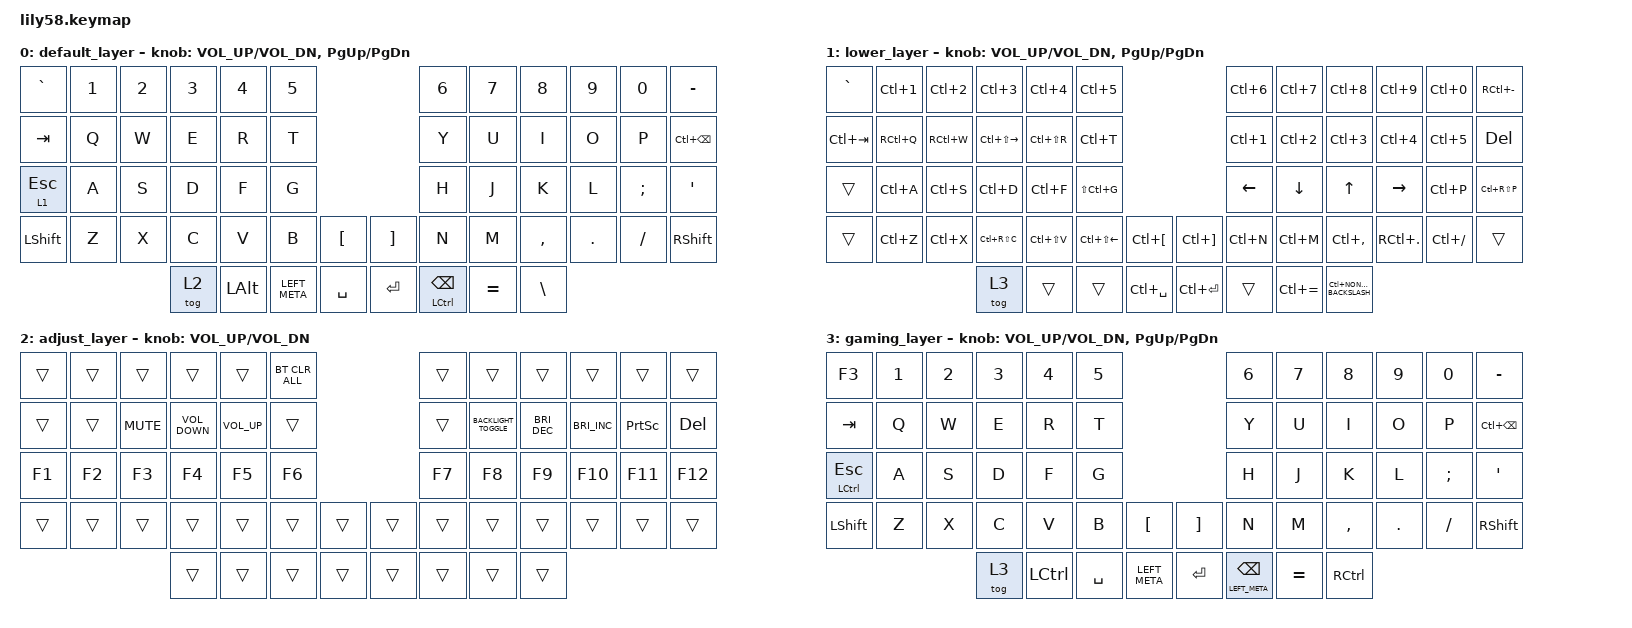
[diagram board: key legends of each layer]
/*
 * Copyright (c) 2020 The ZMK Contributors
 *
 * SPDX-License-Identifier: MIT
 */

#include <behaviors.dtsi>
#include <dt-bindings/zmk/bt.h>
#include <dt-bindings/zmk/keys.h>

/ {
    behaviors {
          lt_ti: layer_tap_ti {
              compatible = "zmk,behavior-hold-tap";                             
              #binding-cells = <2>;
              tapping-term-ms = <1000>;                                          
              flavor = "tap-unless-interrupted";
              bindings = <&mo>, <&kp>;
          };                                                                    
      };

    keymap {
        compatible = "zmk,keymap";

        default_layer {
            // ------------------------------------------------------------------------------------------------------------
            // |  ESC  |  1  |  2  |  3   |  4   |  5   |                   |  6   |  7    |  8    |  9   |   0   |   `   |
            // |  TAB  |  Q  |  W  |  E   |  R   |  T   |                   |  Y   |  U    |  I    |  O   |   P   |   -   |
            // |  CTRL |  A  |  S  |  D   |  F   |  G   |                   |  H   |  J    |  K    |  L   |   ;   |   '   |
            // | SHIFT |  Z  |  X  |  C   |  V   |  B   |  MUTE  |  |RGB_TOG|  N   |  M    |  ,    |  .   |   /   | SHIFT |
            //                     | ALT  | GUI  | LOWER|  SPACE |  | ENTER | RAISE| BSPC  | GUI   |

            bindings = <
&kp GRAVE     &kp N1  &kp N2  &kp N3  &kp N4    &kp N5                                                &kp N6               &kp N7     &kp N8     &kp N9   &kp N0     &kp MINUS
&kp TAB       &kp Q   &kp W   &kp E   &kp R     &kp T                                                 &kp Y                &kp U      &kp I      &kp O    &kp P      &kp LC(BACKSPACE)
&lt_ti 1 ESCAPE  &kp A   &kp S   &kp D   &kp F     &kp G                                                 &kp H                &kp J      &kp K      &kp L    &kp SEMI   &kp SQT
&kp LSHFT     &kp Z   &kp X   &kp C   &kp V     &kp B          &kp LEFT_BRACKET    &kp RIGHT_BRACKET  &kp N                &kp M      &kp COMMA  &kp DOT  &kp SLASH  &kp RSHFT
                              &tog 2  &kp LALT  &kp LEFT_META  &kp SPACE           &kp RET            &mt LCTRL BACKSPACE  &kp EQUAL  &kp BSLH
            >;

            sensor-bindings = <&inc_dec_kp C_VOL_UP C_VOL_DN &inc_dec_kp PG_UP PG_DN>;
        };

        lower_layer {
            // ------------------------------------------------------------------------------------------------------------
            // | BTCLR | BT1 | BT2 |  BT3 |  BT4 |  BT5 |                   |      |       |       |      |       |       |
            // |  F1   |  F2 |  F3 |  F4  |  F5  |  F6  |                   |  F7  |  F8   |  F9   |  F10 |  F11  |  F12  |
            // |   `   |  !  |  @  |  #   |  $   |  %   |                   |  ^   |  &    |  *    |  (   |   )   |   ~   |
            // |EXTPWR |     |     |      |      |      |        |  |       |      |  _    |  +    |  {   |   }   |  "|"  |
            //                     |      |      |      |        |  |       |      |       |       |

            bindings = <
&kp GRAVE    &kp LC(NUMBER_1)  &kp LC(NUMBER_2)  &kp LC(NUMBER_3)   &kp LC(NUMBER_4)  &kp LC(N5)                                                             &kp LC(NUMBER_6)  &kp LC(N7)        &kp LC(N8)                &kp LC(N9)        &kp LC(N0)     &kp RC(MINUS)
&kp LC(TAB)  &kp RC(Q)         &kp RC(W)         &kp LC(LS(RIGHT))  &kp LC(LS(R))     &kp LC(T)                                                              &kp LC(NUMBER_1)  &kp LC(NUMBER_2)  &kp LC(NUMBER_3)          &kp LC(NUMBER_4)  &kp LC(N5)     &kp DEL
&trans       &kp LC(A)         &kp LC(S)         &kp LC(D)          &kp LC(F)         &kp LS(LC(G))                                                          &kp LEFT          &kp DOWN_ARROW    &kp UP_ARROW              &kp RIGHT         &kp LC(P)      &kp LC(RS(P))
&trans       &kp LC(Z)         &kp LC(X)         &kp LC(RS(C))      &kp LC(LS(V))     &kp LC(LS(LEFT_ARROW))  &kp LC(LEFT_BRACKET)    &kp LC(RIGHT_BRACKET)  &kp LC(N)         &kp LC(M)         &kp LC(COMMA)             &kp RC(PERIOD)    &kp LC(SLASH)  &trans
                                                 &tog 3             &trans            &trans                  &kp LC(SPACE)           &kp LC(ENTER)          &trans            &kp LC(EQUAL)     &kp LC(NON_US_BACKSLASH)
            >;

            sensor-bindings = <&inc_dec_kp C_VOL_UP C_VOL_DN &inc_dec_kp PG_UP PG_DN>;
        };

        adjust_layer {
            // ----------------------------------------------------------------------------------------------------------------------------
            // | BTCLR  |  BT1    |  BT2    |   BT3   |   BT4   |   BT5   |                  |      |      |       |      |       |       |
            // | EXTPWR | RGB_HUD | RGB_HUI | RGB_SAD | RGB_SAI | RGB_EFF |                  |      |      |       |      |       |       |
            // |        | RGB_BRD | RGB_BRI |         |         |         |                  |      |      |       |      |       |       |
            // |        |         |         |         |         |         | RGB_TOG | |      |      |      |       |      |       |       |
            //                    |         |         |         |         |         | |      |      |      |       |      |

            bindings = <
&trans  &trans  &trans      &trans             &trans           &bt BT_CLR_ALL                    &trans  &trans                  &trans                &trans                &trans           &trans
&trans  &trans  &kp K_MUTE  &kp C_VOLUME_DOWN  &kp C_VOLUME_UP  &trans                            &trans  &kp C_BACKLIGHT_TOGGLE  &kp C_BRIGHTNESS_DEC  &kp C_BRIGHTNESS_INC  &kp PRINTSCREEN  &kp DELETE
&kp F1  &kp F2  &kp F3      &kp F4             &kp F5           &kp F6                            &kp F7  &kp F8                  &kp F9                &kp F10               &kp F11          &kp F12
&trans  &trans  &trans      &trans             &trans           &trans          &trans    &trans  &trans  &trans                  &trans                &trans                &trans           &trans
                            &trans             &trans           &trans          &trans    &trans  &trans  &trans                  &trans
            >;

            sensor-bindings = <&inc_dec_kp C_VOL_UP C_VOL_DN>;
        };

        gaming_layer {
            bindings = <
&kp F3            &kp N1  &kp N2  &kp N3  &kp N4            &kp N5                                            &kp N6                   &kp N7     &kp N8     &kp N9   &kp N0     &kp MINUS
&kp TAB           &kp Q   &kp W   &kp E   &kp R             &kp T                                             &kp Y                    &kp U      &kp I      &kp O    &kp P      &kp LC(BACKSPACE)
&mt LCTRL ESCAPE  &kp A   &kp S   &kp D   &kp F             &kp G                                             &kp H                    &kp J      &kp K      &kp L    &kp SEMI   &kp SQT
&kp LSHFT         &kp Z   &kp X   &kp C   &kp V             &kp B      &kp LEFT_BRACKET    &kp RIGHT_BRACKET  &kp N                    &kp M      &kp COMMA  &kp DOT  &kp SLASH  &kp RSHFT
                                  &tog 3  &kp LEFT_CONTROL  &kp SPACE  &kp LEFT_META           &kp RET            &mt LEFT_META BACKSPACE  &kp EQUAL  &kp RCTRL
            >;

            sensor-bindings =
                <&inc_dec_kp C_VOL_UP C_VOL_DN>,
                <&inc_dec_kp PG_UP PG_DN>;
        };
    };
};
